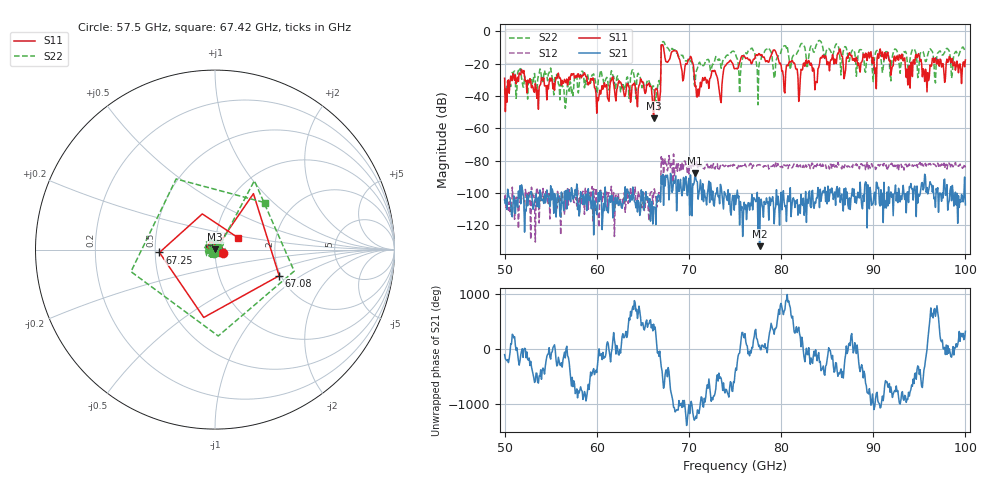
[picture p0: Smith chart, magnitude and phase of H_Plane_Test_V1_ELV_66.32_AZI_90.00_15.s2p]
! 11/27/2026 8:11:07 AM
! C:\ANRITSUVNA\TEMP\TEMP.S2P
! CHANNEL.1
! TR.MEASUREMENT
! RAW.DATA
# HZ S RI R 50.0
! FREQ.HZ  S11RE  S11IM  S21RE  S21IM  S12RE  S12IM  S22RE  S22IM
!; PortSelection: Port_12
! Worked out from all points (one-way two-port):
!   601 points, 50 GHz to 100 GHz, reference 50 ohm
!   highest |S21| = -87.79 dB at 70.67 GHz (marker M1); lowest = -133.0 dB at 77.67 GHz (marker M2)
!   lowest |S11| = -53.9 dB at 66.17 GHz (marker M3), VSWR 1.00, Z = 50.1 + j0.156 ohm
!   |S11| at or under -10 dB: start of sweep to 67 GHz; 67.24 GHz to end of sweep
!   |S22| runs from -47.6 to -5.6 dB; largest |S21 - S12| = 0.00015
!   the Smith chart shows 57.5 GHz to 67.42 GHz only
!   S11 on the Smith chart (normalised r, x): 57.5 GHz: 1.09, -0.04; 67.08 GHz: 1.96, -0.67; 67.25 GHz: 0.53, -0.02; 67.42 GHz: 1.29, +0.17
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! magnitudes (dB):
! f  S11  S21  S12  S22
! 50 GHz  -29.0  -104.2  -105.0  -35.7
! 51.67 GHz  -26.2  -95.6  -105.5  -23.1
! 53.42 GHz  -34.7  -100.7  -101.0  -35.4
! 57.5 GHz  -26.1  -102.0  -105.8  -34.4
! 58.42 GHz  -27.1  -101.7  -100.4  -24.7
! 60.17 GHz  -42.9  -99.9  -113.3  -30.2
! 66.17 GHz  -53.9  -108.6  -101.0  -33.9
! 66.67 GHz  -41.7  -101.2  -105.2  -31.6
! 67.08 GHz  -8.3  -94.5  -81.3  -6.8
! 67.25 GHz  -10.2  -107.7  -90.8  -6.3
! 67.42 GHz  -16.7  -95.7  -79.0  -8.4
! 70.17 GHz  -15.5  -88.9  -83.8  -18.5
! 70.67 GHz  -34.2  -87.8  -82.9  -33.1
! 73.42 GHz  -42.3  -94.7  -83.0  -19.6
! 75 GHz  -23.1  -101.4  -83.1  -13.1
! 77.67 GHz  -13.9  -133.0  -82.5  -18.9
! 83.42 GHz  -24.6  -98.5  -81.7  -10.9
! 91.67 GHz  -16.7  -96.3  -83.7  -15.3
! 93.75 GHz  -33.2  -99.3  -82.2  -21.7
! 94.83 GHz  -14.8  -106.3  -84.3  -28.6
! 95.83 GHz  -37.4  -96.7  -82.2  -16.4
! 100 GHz  -17.7  -107.4  -84.3  -12.6
